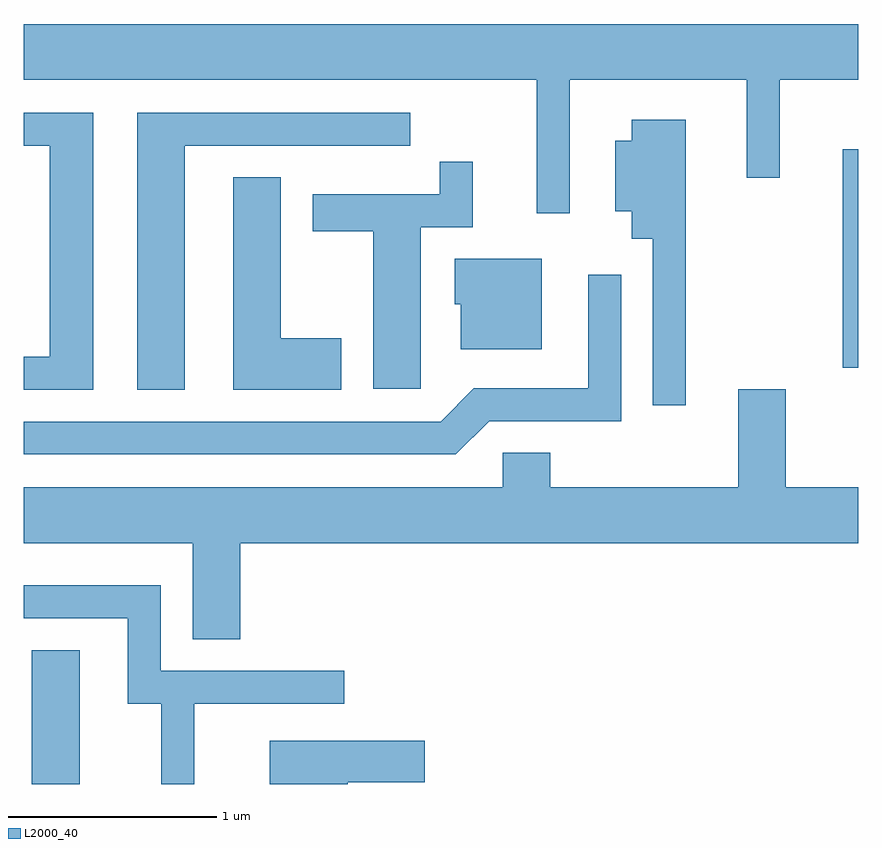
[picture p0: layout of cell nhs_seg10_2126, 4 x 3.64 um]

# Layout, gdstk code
import gdstk
lib = gdstk.Library(unit=1e-6, precision=1e-09)
def R(c, l, rs):  # rectangles x0, y0, x1, y1
    for r in rs: c.add(gdstk.rectangle(r[:2], r[2:], *l))
def P(c, l, *ps):  # polygons
    for p in ps: c.add(gdstk.Polygon(p, *l))
L2000_40 = (2000, 40)

nhs_seg10_2126 = lib.new_cell('nhs_seg10_2126')
R(nhs_seg10_2126, L2000_40, [(247.651,2130.522,247.879,2131.164), (251.536,2132.516,251.611,2133.564)])
P(nhs_seg10_2126, L2000_40, [(250.229,2133.896),(251.076,2133.896),(251.076,2133.428),(251.234,2133.428),(251.234,2133.896),(251.611,2133.896),(251.611,2134.164),(247.611,2134.164),(247.611,2133.896),(250.071,2133.896),(250.071,2133.258),(250.229,2133.258)],
  [(247.944,2133.739),(247.611,2133.739),(247.611,2133.581),(247.736,2133.581),(247.736,2132.569),(247.611,2132.569),(247.611,2132.411),(247.944,2132.411)],
  [(248.384,2133.581),(249.463,2133.581),(249.463,2133.739),(248.156,2133.739),(248.156,2132.411),(248.384,2132.411)],
  [(250.784,2133.704),(250.526,2133.704),(250.526,2133.604),(250.446,2133.604),(250.446,2133.266),(250.526,2133.266),(250.526,2133.136),(250.626,2133.136),(250.626,2132.338),(250.784,2132.338)],
  [(249.514,2133.191),(249.764,2133.191),(249.764,2133.503),(249.606,2133.503),(249.606,2133.349),(248.996,2133.349),(248.996,2133.171),(249.286,2133.171),(249.286,2132.416),(249.514,2132.416)],
  [(249.134,2132.659),(248.844,2132.659),(248.844,2133.429),(248.616,2133.429),(248.616,2132.411),(249.134,2132.411)],
  [(250.094,2133.039),(249.676,2133.039),(249.676,2132.821),(249.706,2132.821),(249.706,2132.606),(250.094,2132.606)],
  [(249.842,2132.261),(250.474,2132.261),(250.474,2132.963),(250.316,2132.963),(250.316,2132.419),(249.769,2132.419),(249.609,2132.259),(247.611,2132.259),(247.611,2132.101),(249.682,2132.101)],
  [(248.649,2131.676),(251.611,2131.676),(251.611,2131.944),(251.264,2131.944),(251.264,2132.414),(251.036,2132.414),(251.036,2131.944),(250.134,2131.944),(250.134,2132.109),(249.906,2132.109),(249.906,2131.944),(247.611,2131.944),(247.611,2131.676),(248.421,2131.676),(248.421,2131.216),(248.649,2131.216)],
  [(248.429,2130.906),(249.148,2130.906),(249.148,2131.064),(248.269,2131.064),(248.269,2131.474),(247.611,2131.474),(247.611,2131.316),(248.111,2131.316),(248.111,2130.906),(248.271,2130.906),(248.271,2130.522),(248.429,2130.522)],
  [(249.164,2130.531),(249.534,2130.531),(249.534,2130.729),(248.791,2130.729),(248.791,2130.522),(249.164,2130.522)])

lib.write_gds('nhs_seg10_2126.gds')
